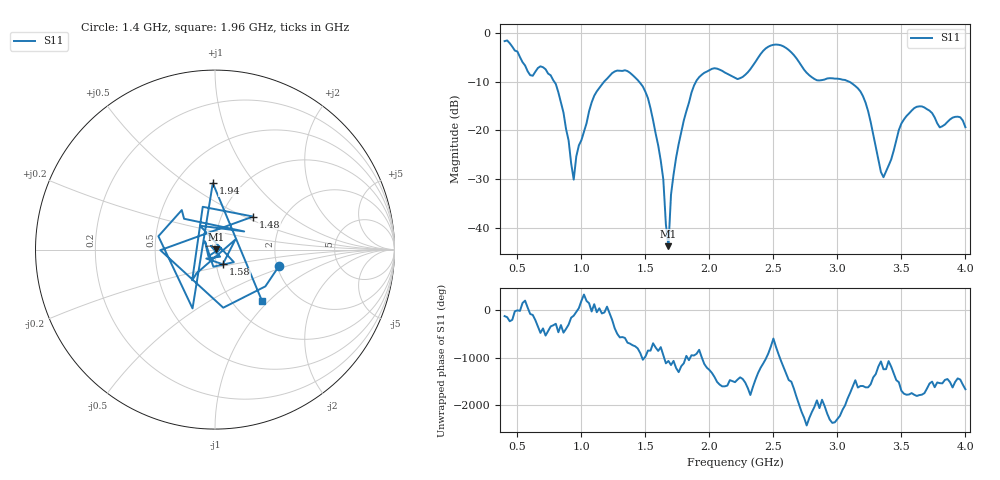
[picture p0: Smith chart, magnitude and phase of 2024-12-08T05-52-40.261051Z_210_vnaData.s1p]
!Created with skrf (http://scikit-rf.org).
# Hz S RI R 50.0
!freq ReS11 ImS11
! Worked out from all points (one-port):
!   181 points, 400 MHz to 4 GHz, reference 50 ohm
!   lowest |S11| = -43.8 dB at 1.68 GHz (marker M1), VSWR 1.01, Z = 50.6 + j0.177 ohm
!   |S11| at or under -10 dB: 786.8 MHz to 1.179 GHz (391.9 MHz wide, 39.9 % of centre); 1.449 GHz to 1.896 GHz (446.5 MHz wide, 26.7 % of centre); 3.087 GHz to end of sweep
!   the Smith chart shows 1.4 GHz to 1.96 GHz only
!   S11 on the Smith chart (normalised r, x): 1.4 GHz: 2.04, -0.44; 1.48 GHz: 1.41, +0.56; 1.58 GHz: 1.08, -0.18; 1.94 GHz: 0.74, +0.64; 1.96 GHz: 1.36, -0.91
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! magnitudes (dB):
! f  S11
! 400 MHz  -1.7
! 600 MHz  -8.7
! 760 MHz  -8.7
! 860 MHz  -16.4
! 940 MHz  -30.1
! 980 MHz  -23.1
! 1.1 GHz  -12.9
! 1.3 GHz  -7.8
! 1.4 GHz  -8.7
! 1.48 GHz  -11.0
! 1.58 GHz  -20.7
! 1.64 GHz  -30.1
! 1.66 GHz  -39.3
! 1.68 GHz  -43.8
! 1.7 GHz  -33.2
! 1.76 GHz  -22.8
! 1.86 GHz  -12.3
! 1.94 GHz  -8.6
! 1.96 GHz  -8.2
! 2.2 GHz  -9.2
! 2.48 GHz  -2.6
! 2.66 GHz  -4.6
! 2.84 GHz  -9.7
! 3.1 GHz  -10.1
! 3.22 GHz  -14.3
! 3.36 GHz  -29.6
! 3.56 GHz  -16.5
! 4 GHz  -19.4
